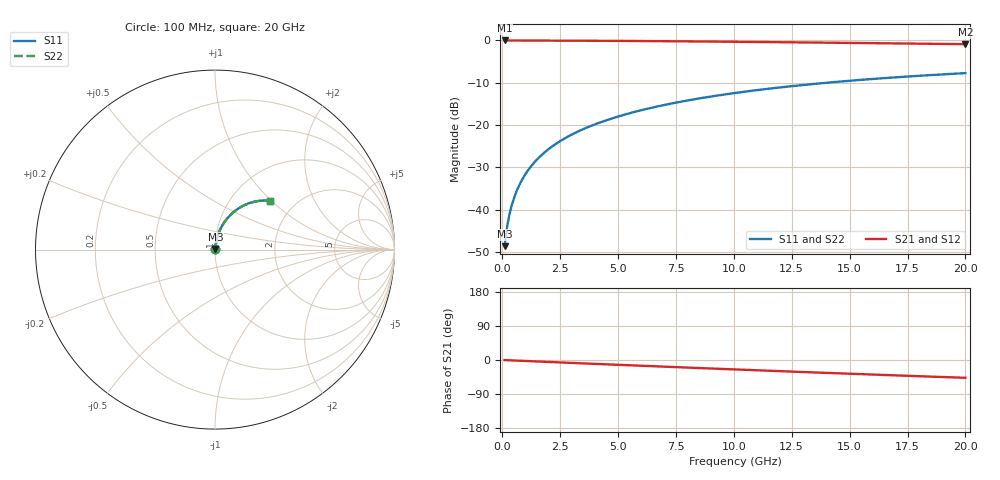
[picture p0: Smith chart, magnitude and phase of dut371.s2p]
! Touchstone file exported from HFSS 2026.1.0
!  File:  C:/ffzhzh/LocalFiles/Ansys_Project_Files/temp_train_TMRDL_371_1783004367_46388.aedt
!  Generated:  11:01:00 PM Jul  2, 2026
!  Design:  TMRDL
!  Project:  temp_train_TMRDL_371_1783004367_46388
! Variables:
!  h_bsmrdl = 2um
!  h_ox = 20um
!  h_rdl = 5um
!  h_sub = 80um
!  h_tmrdl = 4.54um
!  h_tsv = 80um
!  h_via = 3um
!  l_bsmrdl = 300um
!  l_sub = 1100.67um
!  l_tmrdl = 700.67um
!  m_sub = 200um
!  pitch = 55.16um
!  r_tsv = 6um
!  s_tmrdl = 10um
!  w_bsmrdl = 18um
!  w_sub = 500um
!  w_tmrdl = 25.12um
!  x_tsv_center1 = 713.23um
!  x_tsv_center2 = 1031.23um
!  x_tsv_center3 = 1757.02um
!  x_tsv_center4 = 2075.02um
!  x_tsv_center5 = 2800.81um
!  x_tsv_center6 = 3118.81um
# GHz S MA R 50.000000
! Terminal data exported
! Port[1] = TM_RDL1_1_T1
! Port[2] = TM_RDL1_1_T2
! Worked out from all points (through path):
!   200 points, 100 MHz to 20 GHz, reference 50 ohm
!   highest |S21| = -0.02 dB at 100 MHz (marker M1); lowest = -0.9 dB at 20 GHz (marker M2)
!   group delay of S21, straight-line fit = 6.53 ps
!   lowest |S11| = -48.7 dB at 100 MHz (marker M3), VSWR 1.01, Z = 50.2 + j0.283 ohm
!   |S11| at or under -10 dB: start of sweep to 14.04 GHz
!   |S22| runs from -48.7 to -7.7 dB; largest |S21 - S12| = 1.2e-14
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0.1  0.003693 49.7  0.9976 -0.3  0.9976 -0.3  0.003693 49.7
! Gamma 0 0 0 0
! Port Impedance 50 0 50 0
0.2  0.006082 64.7  0.9974 -0.5  0.9974 -0.5  0.006082 64.7
0.3  0.008558 70.9  0.9973 -0.8  0.9973 -0.8  0.008558 70.9
0.4  0.01105 74.3  0.9972 -1.1  0.9972 -1.1  0.01105 74.3
0.5  0.01356 76.5  0.9971 -1.3  0.9971 -1.3  0.01356 76.5
0.7  0.01863 79.0  0.9969 -1.8  0.9969 -1.8  0.01863 79.0
0.8  0.02117 79.8  0.9968 -2.1  0.9968 -2.1  0.02117 79.8
1  0.02628 80.7  0.9966 -2.6  0.9966 -2.6  0.02628 80.7
1.2  0.0314 81.1  0.9963 -3.1  0.9963 -3.1  0.0314 81.1
1.4  0.03652 81.2  0.9961 -3.6  0.9961 -3.6  0.03652 81.2
1.7  0.04419 81.2  0.9956 -4.4  0.9956 -4.4  0.04419 81.2
2  0.05183 80.9  0.9951 -5.2  0.9951 -5.2  0.05183 80.9
2.7  0.06952 79.7  0.9935 -6.9  0.9935 -6.9  0.06952 79.7
3.5  0.08944 78.0  0.9913 -9.0  0.9913 -9.0  0.08944 78.0
4.2  0.1066 76.5  0.9891 -10.7  0.9891 -10.7  0.1066 76.5
5  0.1258 74.7  0.9863 -12.7  0.9863 -12.7  0.1258 74.6
6.8  0.1678 70.5  0.9789 -17.2  0.9789 -17.2  0.1678 70.5
8.3  0.2014 67.1  0.9719 -20.8  0.9719 -20.8  0.2014 67.0
10.1  0.2398 63.0  0.9624 -25.1  0.9624 -25.1  0.2398 62.9
13.4  0.3046 55.6  0.9432 -32.7  0.9432 -32.7  0.3046 55.6
16.7  0.3614 48.5  0.9225 -40.0  0.9225 -40.0  0.3614 48.5
20  0.41 41.7  0.9018 -47.0  0.9018 -47.0  0.41 41.6
